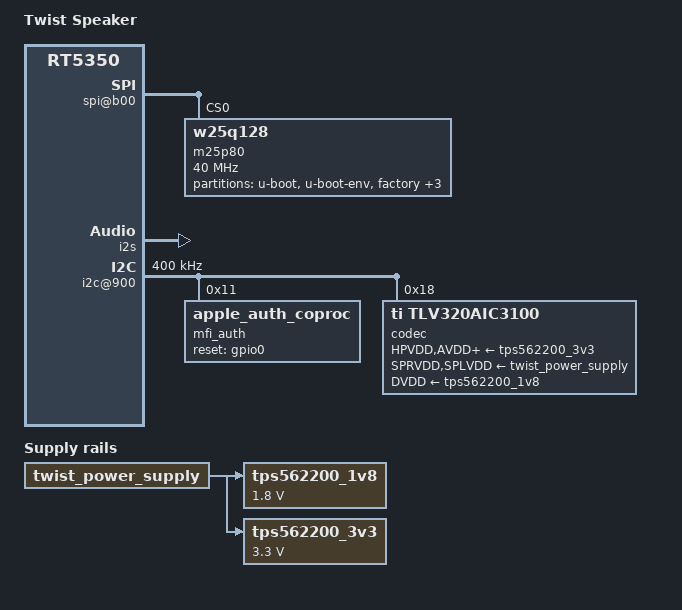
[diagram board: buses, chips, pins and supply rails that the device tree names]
/dts-v1/;

/include/ "rt5350.dtsi"

/ {
	compatible = "ralink,rt5350-soc";
	model = "Twist Speaker";
	
	twist_power_supply: power@0 {
	};
	
	tps562200_1v8: fixedregulator@0 {
	    compatible = "regulator-fixed";
	    regulator-name = "fixed-supply";
	    regulator-min-microvolt = <1800000>;
	    regulator-max-microvolt = <1800000>;
	    startup-delay-us = <70000>;
	    regulator-boot-on;
	    gpio-open-drain;
	    vin-supply = <&twist_power_supply>;
	};
	tps562200_3v3: fixedregulator@0 {
	    compatible = "regulator-fixed";
	    regulator-name = "fixed-supply";
	    regulator-min-microvolt = <3300000>;
	    regulator-max-microvolt = <3300000>;
	    startup-delay-us = <70000>;
	    regulator-boot-on;
	    gpio-open-drain;
	    vin-supply = <&twist_power_supply>;
	};
	
	palmbus@10000000 {
		spi@b00 {
			status = "okay";
			m25p80@0 {
				#address-cells = <1>;
				#size-cells = <1>;
				compatible = "w25q128";
				reg = <0 0>;
				linux,modalias = "w25q128";
				spi-max-frequency = <40000000>;

				partition@0 {
					label = "u-boot";
					reg = <0x0 0x30000>;
				};

				partition@30000 {
					label = "u-boot-env";
					reg = <0x30000 0x10000>;
				};

				factory: partition@40000 {
					label = "factory";
					reg = <0x40000 0x10000>;
				};

				partition@50000 {
					label = "nvram";
					reg = <0x50000 0x50000>;
				};
				
				partition@A0000 {
					label = "firmware";
					reg = <0xA0000 0x7b0000>;
					read-only;
				};
				
				partition@850000 {
					label = "firmware-alt";
					reg = <0x850000 0x7b0000>;
				};
				
			};
		};
		gpio1: gpio@660 {
			status = "okay";
		};
		
		i2s: i2s@a00 {
			status = "okay";
		};
		
		dma@2800 {
			status = "okay";
		};
		
		i2c@900 {
			status = "okay";
			clock-frequency = <400000>;

			mfi_auth: i2c@11 {
				compatible = "apple_auth_coproc";
				reg = <0x11>;
				    
				gpio-reset = <&gpio0>;
			};
			
			codec: tlv320aic3100@18 {
				#sound-dai-cells = <0>;
				compatible = "ti,tlv320aic3100";
				reg = <0x18>;
				
				HPVDD-supply = <&tps562200_3v3>;
				SPRVDD-supply = <&twist_power_supply>;
				SPLVDD-supply = <&twist_power_supply>;
				AVDD-supply = <&tps562200_3v3>;
				IOVDD-supply = <&tps562200_3v3>;
				DVDD-supply = <&tps562200_1v8>;
				
				//gpio-reset = <&spi_cs1>
			};

		};
	};
	
	sound {
		compatible = "simple-audio-card";
		simple-audio-card,name = "Audio-I2S";
		simple-audio-card,format = "i2s";
		simple-audio-card,bitclock-master = <&dailink0_master>;
		simple-audio-card,frame-master = <&dailink0_master>;
		simple-audio-card,widgets =
			"Speaker", "Headphone", "Headphones";
		simple-audio-card,routing =
			"Speaker", "SPK",
			"Headphones", "HP_L",
			"Headphones", "HP_R";
		simple-audio-card,mclk-fs = <256>;

		simple-audio-card,cpu {
			sound-dai = <&i2s>;
		};

		dailink0_master: simple-audio-card,codec {
			sound-dai = <&codec>;
		};
	};
	
	pinctrl {
		state_default: pinctrl0 {
			gpio {
				ralink,group = "led", "spi_cs1";
				ralink,function = "gpio";
			};
			
			uartf {
				ralink,group = "uartf";
				ralink,function = "i2s uartf";
			};
		};
	};

	ethernet@10100000 {
		mtd-mac-address = <&factory 0x4>;
		status = "disabled";
	};

	esw@10110000 {
		mediatek,portmap = <0x2f>;
		mediatek,led_polarity = <0x17>;
		status = "disabled";
	};

	wmac@10180000 {
		ralink,mtd-eeprom = <&factory 0>;
		ralink,led-polarity = <1>;
	};

	ehci@101c0000 {
		status = "disabled";
	};

	ohci@101c1000 {
		status = "disabled";
    };
};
